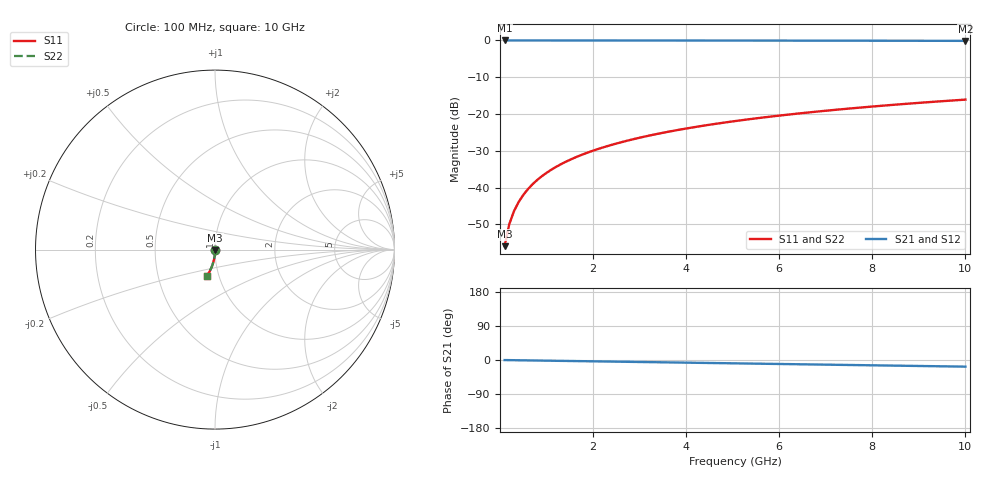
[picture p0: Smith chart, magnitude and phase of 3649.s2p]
# Hz S RI R 50.00
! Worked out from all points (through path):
!   100 points, 100 MHz to 10 GHz, reference 50 ohm
!   highest |S21| = 0.00 dB at 100 MHz (marker M1); lowest = -0.1 dB at 10 GHz (marker M2)
!   group delay of S21, straight-line fit = 4.87 ps
!   lowest |S11| = -55.9 dB at 100 MHz (marker M3), VSWR 1.00, Z = 50 - j0.158 ohm
!   |S11| at or under -10 dB: start of sweep to end of sweep
!   |S22| runs from -55.9 to -16.1 dB; largest |S21 - S12| = 0
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1e8  0.000197 -0.00158  0.9998 -0.00304  0.9998 -0.00304  0.000197 -0.00158
2e8  0.000181 -0.00317  0.9998 -0.00608  0.9998 -0.00608  0.000181 -0.00317
3e8  0.000156 -0.00475  0.9997 -0.00911  0.9997 -0.00911  0.000156 -0.00475
4e8  0.000121 -0.00633  0.9997 -0.0122  0.9997 -0.0122  0.000121 -0.00633
5e8  7.63e-05 -0.00792  0.9996 -0.0152  0.9996 -0.0152  7.63e-05 -0.00792
6e8  2.17e-05 -0.0095  0.9996 -0.0182  0.9996 -0.0182  2.17e-05 -0.0095
7e8  -4.25e-05 -0.0111  0.9995 -0.0213  0.9995 -0.0213  -4.25e-05 -0.0111
8e8  -0.000116 -0.0127  0.9994 -0.0243  0.9994 -0.0243  -0.000116 -0.0127
9e8  -0.0002 -0.0143  0.9993 -0.0273  0.9993 -0.0273  -0.0002 -0.0143
1.1e9  -0.000396 -0.0174  0.9991 -0.0334  0.9991 -0.0334  -0.000396 -0.0174
1.4e9  -0.000763 -0.0222  0.9986 -0.0425  0.9986 -0.0425  -0.000763 -0.0222
1.8e9  -0.00139 -0.0285  0.9978 -0.0547  0.9978 -0.0547  -0.00139 -0.0285
2.1e9  -0.00196 -0.0332  0.9971 -0.0638  0.9971 -0.0638  -0.00196 -0.0332
2.5e9  -0.00285 -0.0395  0.996 -0.076  0.996 -0.076  -0.00285 -0.0395
2.9e9  -0.0039 -0.0458  0.9948 -0.0881  0.9948 -0.0881  -0.0039 -0.0458
3.4e9  -0.00543 -0.0537  0.9929 -0.1032  0.9929 -0.1032  -0.00543 -0.0537
4.2e9  -0.00838 -0.0661  0.9893 -0.1274  0.9893 -0.1274  -0.00838 -0.0661
5.1e9  -0.0124 -0.0799  0.9843 -0.1545  0.9843 -0.1545  -0.0124 -0.0799
5.9e9  -0.0167 -0.092  0.9791 -0.1784  0.9791 -0.1784  -0.0167 -0.092
6.7e9  -0.0215 -0.1038  0.9732 -0.2021  0.9732 -0.2021  -0.0215 -0.1038
8.4e9  -0.0336 -0.1281  0.9582 -0.2517  0.9582 -0.2517  -0.0336 -0.1281
1e10  -0.0472 -0.1496  0.9413 -0.2973  0.9413 -0.2973  -0.0472 -0.1496
